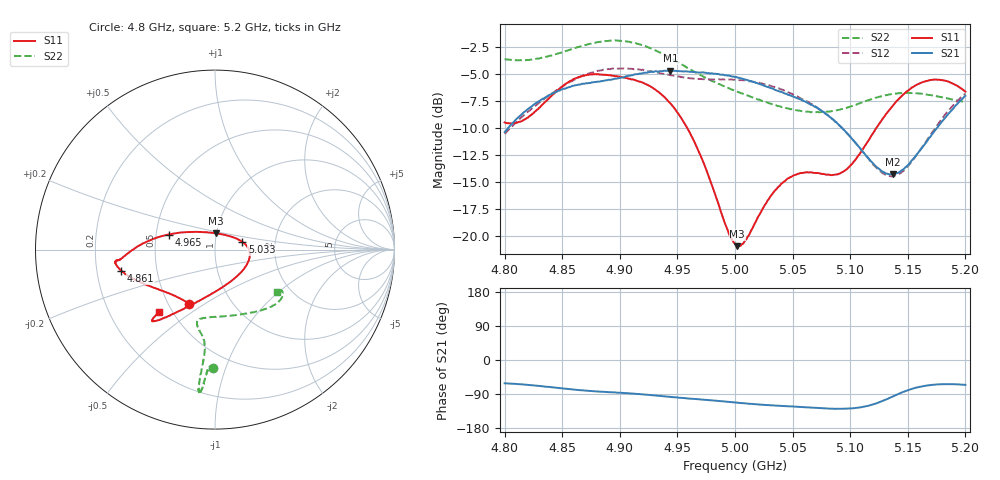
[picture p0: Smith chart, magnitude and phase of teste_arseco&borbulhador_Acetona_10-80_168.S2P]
! Network Analyzer HP8722D
! Hewlett-Packard
! Data name: Linha & Wilkinson
! Saver's name: Rodrigo Anjos
! Comments: Teste da utilização de aquisição
! continua pelo VNA HP8722D
! Time and date: 17/4/2025 15:45
!  Frequency  S11  S21  S12  S22
# HZ  S  MA R 50
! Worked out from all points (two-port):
!   401 points, 4.8 GHz to 5.2 GHz, reference 50 ohm
!   highest |S21| = -4.70 dB at 4.944 GHz (marker M1); lowest = -14.3 dB at 5.137 GHz (marker M2)
!   |S21| within 3 dB of the highest: 4.827 GHz to 5.063 GHz (236.1 MHz wide, 4.77 % of centre); 5.193588 GHz to end of sweep
!   lowest |S11| = -20.9 dB at 5.002 GHz (marker M3), VSWR 1.20, Z = 49.9 + j9.04 ohm
!   |S11| at or under -10 dB: 4.959 GHz to 5.123 GHz (164.1 MHz wide, 3.25 % of centre)
!   |S22| runs from -8.5 to -1.9 dB; largest |S21 - S12| = 0.87
!   S11 on the Smith chart (normalised r, x): 4.8 GHz: 0.63, -0.44; 4.861 GHz: 0.31, -0.10; 4.965 GHz: 0.58, +0.11; 5.033 GHz: 1.35, +0.12; 5.2 GHz: 0.43, -0.38
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4.8e9  0.3358 -115.1  0.3029 -61.5  0.2975 -175.8  0.6574 -90.8
4.819e9  0.3509 -135.2  0.3822 -65.3  0.3707 -175.0  0.652 -92.4
4.861e9  0.5349 -167.2  0.4981 -78.4  0.5298 -178.3  0.7393 -94.7
4.867e9  0.5493 -169.5  0.5061 -80.1  0.5481 -179.3  0.7568 -95.0
4.9e9  0.5459 -173.8  0.539 -86.3  0.5953 174.3  0.7995 -96.3
4.934e9  0.4624 -179.7  0.5774 -94.7  0.5686 170.8  0.7088 -96.6
4.944e9  0.4103 175.8  0.5821 -97.4  0.5542 171.0  0.6657 -96.4
4.965e9  0.2713 162.0  0.5742 -103.1  0.5339 172.8  0.5737 -95.8
4.993e9  0.109 117.3  0.5526 -110.1  0.5289 175.0  0.4863 -98.3
5e9  0.09253 93.4  0.5437 -112.3  0.5292 175.1  0.4701 -99.9
5.002e9  0.09014 85.8  0.5413 -112.6  0.5261 175.2  0.4661 -100.3
5.01e9  0.09725 57.4  0.5279 -114.8  0.5224 174.9  0.4481 -101.8
5.033e9  0.1584 15.8  0.4803 -119.8  0.4902 173.8  0.4067 -103.6
5.049e9  0.1884 0.0  0.4454 -122.5  0.4563 173.2  0.3865 -99.3
5.067e9  0.1972 -19.1  0.4035 -125.8  0.4073 172.9  0.3749 -89.5
5.097e9  0.204 -71.6  0.2997 -128.4  0.3007 174.7  0.3926 -66.1
5.121e9  0.3058 -108.8  0.2137 -116.1  0.2122 -171.0  0.4343 -49.6
5.134e9  0.3835 -119.0  0.1934 -100.4  0.19 -153.4  0.4521 -43.2
5.137e9  0.4011 -120.8  0.1933 -96.5  0.1897 -148.6  0.4548 -41.8
5.149e9  0.4657 -125.9  0.2106 -80.8  0.208 -130.8  0.4595 -37.4
5.17e9  0.5269 -130.8  0.2901 -66.0  0.2961 -112.3  0.4488 -32.6
5.2e9  0.4654 -132.0  0.4452 -65.7  0.456 -107.7  0.4161 -34.2
